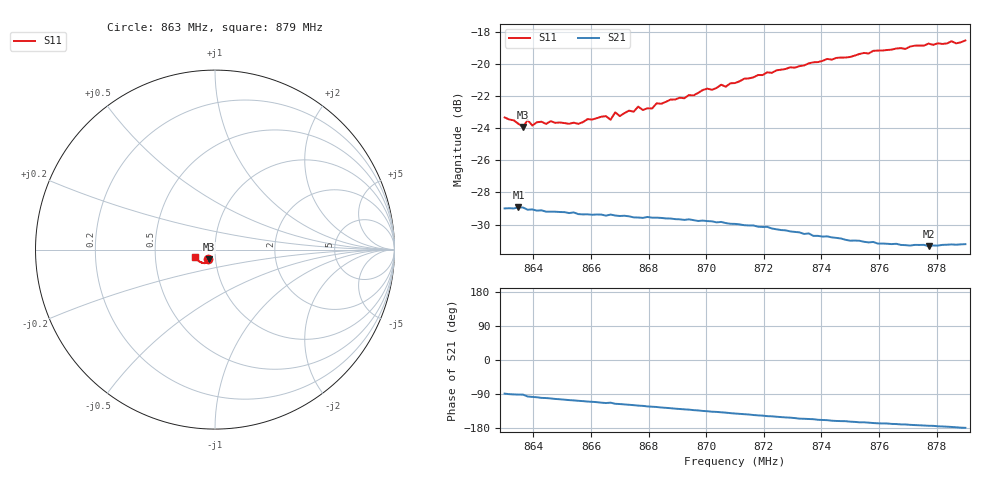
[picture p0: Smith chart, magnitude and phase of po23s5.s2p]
# HZ S RI R 50
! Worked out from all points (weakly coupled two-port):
!   101 points, 863 MHz to 879 MHz, reference 50 ohm
!   highest |S21| = -28.92 dB at 863.48 MHz (marker M1); lowest = -31.3 dB at 877.72 MHz (marker M2)
!   lowest |S11| = -23.9 dB at 863.64 MHz (marker M3), VSWR 1.14, Z = 46.4 - j4.95 ohm
!   |S11| at or under -10 dB: start of sweep to end of sweep
!   S12 and S22 are empty: the file has one direction only
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8.63e8  -0.0414 -0.0541  0.000775 -0.0355  0 0  0 0
8.6348e8  -0.0385 -0.0525  -0.000796 -0.0358  0 0  0 0
8.6364e8  -0.035 -0.0532  -0.000842 -0.0357  0 0  0 0
8.638e8  -0.0406 -0.0532  -0.00387 -0.035  0 0  0 0
8.6396e8  -0.0379 -0.052  -0.00454 -0.035  0 0  0 0
8.6428e8  -0.0379 -0.0541  -0.00607 -0.0345  0 0  0 0
8.6572e8  -0.0331 -0.057  -0.0108 -0.0323  0 0  0 0
8.6652e8  -0.0331 -0.0603  -0.0135 -0.0309  0 0  0 0
8.6668e8  -0.032 -0.0589  -0.0131 -0.0314  0 0  0 0
8.6684e8  -0.0341 -0.0619  -0.0145 -0.0305  0 0  0 0
8.67e8  -0.0335 -0.0601  -0.0148 -0.0302  0 0  0 0
8.6732e8  -0.0351 -0.0623  -0.0158 -0.0296  0 0  0 0
8.6748e8  -0.0331 -0.0628  -0.0162 -0.0291  0 0  0 0
8.6764e8  -0.0356 -0.0645  -0.0168 -0.0287  0 0  0 0
8.678e8  -0.0341 -0.0633  -0.0171 -0.0284  0 0  0 0
8.6844e8  -0.0361 -0.0659  -0.0192 -0.0271  0 0  0 0
8.7052e8  -0.0453 -0.0733  -0.0239 -0.0216  0 0  0 0
8.71e8  -0.0468 -0.0736  -0.0248 -0.0199  0 0  0 0
8.7372e8  -0.0678 -0.0752  -0.0267 -0.0118  0 0  0 0
8.7644e8  -0.0922 -0.0615  -0.027 -0.00541  0 0  0 0
8.7772e8  -0.1032 -0.0523  -0.0269 -0.00304  0 0  0 0
8.79e8  -0.1113 -0.0403  -0.0275 -0.000488  0 0  0 0
